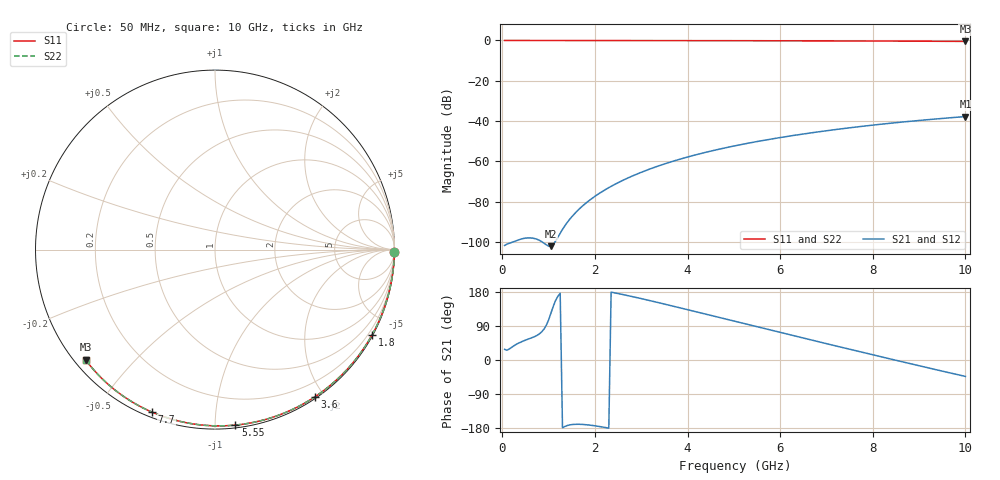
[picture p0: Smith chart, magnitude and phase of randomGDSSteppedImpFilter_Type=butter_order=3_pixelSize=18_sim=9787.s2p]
! freq	dB(S11)	phase(S11)	dB(S12)	phase(S12)
!  dB(S21)	phase(S21)	dB(S22)	phase(S22)
!S-par simulation data
#  GHz  S  DB  R 50
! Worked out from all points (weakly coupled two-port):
!   200 points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, 50 MHz to 10 GHz, reference 50 ohm
!   highest |S21| = -37.74 dB at 10 GHz (marker M1); lowest = -102.0 dB at 1.05 GHz (marker M2)
!   lowest |S11| = -0.5 dB at 10 GHz (marker M3), VSWR 36.83, Z = 1.54 - j18.4 ohm
!   |S11| at or under -10 dB: nowhere
!   |S22| runs from -0.5 to 0.0 dB; largest |S21 - S12| = 0
!   S11 on the Smith chart (normalised r, x): 50 MHz: open; 1.8 GHz: 0.03, -3.92; 3.6 GHz: 0.02, -1.89; 5.55 GHz: 0.02, -1.12; 7.7 GHz: 0.02, -0.68; 10 GHz: 0.03, -0.37
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0.05  -0.00 -0.8  -101.64 28.2  -101.64 28.2  -0.00 -0.8
0.55  -0.01 -8.9  -97.90 54.6  -97.90 54.6  -0.01 -8.9
1.05  -0.02 -16.8  -101.99 123.1  -101.99 123.1  -0.02 -16.8
1.75  -0.04 -27.8  -81.71 -170.2  -81.71 -170.2  -0.04 -27.8
1.8  -0.04 -28.6  -80.74 -170.6  -80.74 -170.6  -0.04 -28.6
1.85  -0.04 -29.4  -79.82 -171.3  -79.82 -171.3  -0.04 -29.4
2  -0.04 -31.7  -77.28 -173.6  -77.28 -173.6  -0.04 -31.7
2.15  -0.04 -34.0  -75.01 -176.5  -75.01 -176.5  -0.04 -34.0
2.35  -0.05 -37.1  -72.32 179.0  -72.32 179.0  -0.05 -37.1
2.55  -0.05 -40.2  -69.94 174.1  -69.94 174.1  -0.05 -40.2
2.95  -0.06 -46.2  -65.83 163.4  -65.83 163.4  -0.06 -46.2
3.4  -0.07 -52.9  -61.99 150.6  -61.99 150.6  -0.07 -52.9
3.6  -0.08 -55.9  -60.49 144.7  -60.49 144.7  -0.08 -55.9
4.3  -0.09 -66.0  -55.98 123.8  -55.98 123.8  -0.09 -66.0
5.05  -0.12 -76.5  -52.10 101.2  -52.10 101.2  -0.12 -76.5
5.55  -0.14 -83.4  -49.91 86.1  -49.91 86.1  -0.14 -83.4
6.1  -0.16 -90.7  -47.77 69.7  -47.77 69.7  -0.16 -90.7
6.7  -0.19 -98.6  -45.71 52.0  -45.71 52.0  -0.19 -98.6
7.7  -0.25 -111.3  -42.75 22.5  -42.75 22.5  -0.25 -111.3
8.35  -0.31 -119.4  -41.11 3.6  -41.11 3.6  -0.31 -119.4
9.2  -0.38 -129.8  -39.25 -20.9  -39.25 -20.9  -0.38 -129.8
10  -0.47 -139.6  -37.74 -43.3  -37.74 -43.3  -0.47 -139.6
